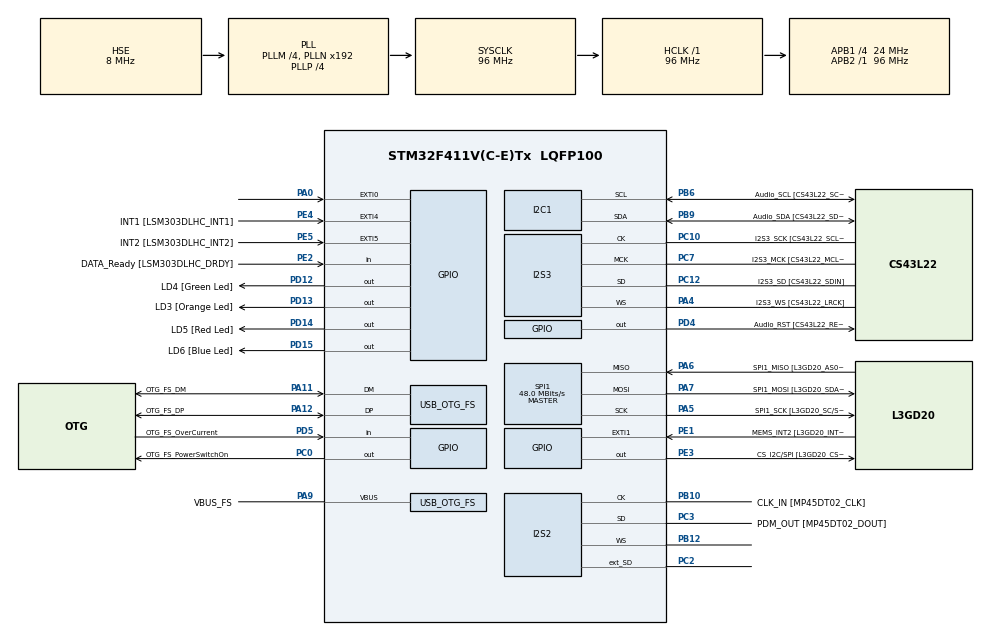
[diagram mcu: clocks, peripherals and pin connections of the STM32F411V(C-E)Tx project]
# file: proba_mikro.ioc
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I2S2.AudioFreq=I2S_AUDIOFREQ_96K
I2S2.ErrorAudioFreq=0.15 %
I2S2.FullDuplexMode=I2S_FULLDUPLEXMODE_ENABLE
I2S2.Instance=SPI$Index
I2S2.RealAudioFreq=96.153 KHz
I2S2.VirtualMode=I2S_MODE_MASTER
I2S3.AudioFreq=I2S_AUDIOFREQ_96K
I2S3.ErrorAudioFreq=-6.99 %
I2S3.FullDuplexMode=I2S_FULLDUPLEXMODE_DISABLE
I2S3.Instance=SPI$Index
I2S3.RealAudioFreq=89.285 KHz
I2S3.VirtualMode=I2S_MODE_MASTER
Mcu.Family=STM32F4
Mcu.Name=STM32F411V(C-E)Tx
Mcu.Package=LQFP100
NVIC.OTG_FS_IRQn=true\:0\:0\:false\:false\:true\:true\:true
NVIC.PriorityGroup=NVIC_PRIORITYGROUP_0
PA0-WKUP.GPIO_ModeDefaultEXTI=GPIO_MODE_EVT_RISING
PA0-WKUP.Signal=GPXTI0
PA10.GPIO_Label=OTG_FS_ID
PA10.Signal=USB_OTG_FS_ID
PA11.GPIO_Label=OTG_FS_DM
PA11.Mode=Host_Only
PA11.Signal=USB_OTG_FS_DM
PA12.GPIO_Label=OTG_FS_DP
PA12.Mode=Host_Only
PA12.Signal=USB_OTG_FS_DP
PA13.GPIO_Label=SWDIO
PA13.Mode=Serial_Wire
PA13.Signal=SYS_JTMS-SWDIO
PA14.GPIO_Label=SWCLK
PA14.Mode=Serial_Wire
PA14.Signal=SYS_JTCK-SWCLK
PA4.GPIO_Label=I2S3_WS [CS43L22_LRCK]
PA4.GPIO_Mode=GPIO_MODE_AF_PP
PA4.GPIO_PuPd=GPIO_NOPULL
PA4.GPIO_Speed=GPIO_SPEED_FREQ_LOW
PA4.Mode=Half_Duplex_Master
PA4.Signal=I2S3_WS
PA5.GPIO_Label=SPI1_SCK [L3GD20_SC/SPC]
PA5.Mode=Full_Duplex_Master
PA5.Signal=SPI1_SCK
PA6.GPIO_Label=SPI1_MISO [L3GD20_AS0/SDO]
PA6.Mode=Full_Duplex_Master
PA6.Signal=SPI1_MISO
PA7.GPIO_Label=SPI1_MOSI [L3GD20_SDA/SDI/SDO]
PA7.Mode=Full_Duplex_Master
PA7.Signal=SPI1_MOSI
PA9.GPIO_Label=VBUS_FS
PA9.Mode=Activate_VBUS
PA9.Signal=USB_OTG_FS_VBUS
PB10.GPIO_Label=CLK_IN [MP45DT02_CLK]
PB10.Mode=Full_Duplex_Master
PB10.Signal=I2S2_CK
PB12.Mode=Full_Duplex_Master
PB12.Signal=I2S2_WS
PB3.GPIO_Label=SWO
PB3.Signal=SYS_JTDO-SWO
PB6.GPIO_Label=Audio_SCL [CS43L22_SCL]
PB6.GPIO_Mode=GPIO_MODE_AF_OD
PB6.GPIO_PuPd=GPIO_NOPULL
PB6.GPIO_Speed=GPIO_SPEED_FREQ_LOW
PB6.Mode=I2C
PB6.Signal=I2C1_SCL
PB9.GPIO_Label=Audio_SDA [CS43L22_SDA]
PB9.GPIO_Mode=GPIO_MODE_AF_OD
PB9.GPIO_PuPd=GPIO_NOPULL
PB9.GPIO_Speed=GPIO_SPEED_FREQ_LOW
PB9.Mode=I2C
PB9.Signal=I2C1_SDA
PC0.GPIO_Label=OTG_FS_PowerSwitchOn
PC0.PinState=GPIO_PIN_SET
PC0.Signal=GPIO_Output
PC10.GPIO_Label=I2S3_SCK [CS43L22_SCLK]
PC10.GPIO_Mode=GPIO_MODE_AF_PP
PC10.GPIO_PuPd=GPIO_NOPULL
PC10.GPIO_Speed=GPIO_SPEED_FREQ_LOW
PC10.Mode=Half_Duplex_Master
PC10.Signal=I2S3_CK
PC12.GPIO_Label=I2S3_SD [CS43L22_SDIN]
PC12.GPIO_Mode=GPIO_MODE_AF_PP
PC12.GPIO_PuPd=GPIO_NOPULL
PC12.GPIO_Speed=GPIO_SPEED_FREQ_LOW
PC12.Mode=Half_Duplex_Master
PC12.Signal=I2S3_SD
PC14-OSC32_IN.GPIO_Label=PC14-OSC32_IN
PC14-OSC32_IN.Mode=LSE-External-Oscillator
PC14-OSC32_IN.Signal=RCC_OSC32_IN
PC15-OSC32_OUT.GPIO_Label=PC15-OSC32_OUT
PC15-OSC32_OUT.Mode=LSE-External-Oscillator
PC15-OSC32_OUT.Signal=RCC_OSC32_OUT
PC2.Mode=Full_Duplex_Master
PC2.Signal=I2S2_ext_SD
PC3.GPIO_Label=PDM_OUT [MP45DT02_DOUT]
PC3.Mode=Full_Duplex_Master
PC3.Signal=I2S2_SD
PC7.GPIO_Label=I2S3_MCK [CS43L22_MCLK]
PC7.GPIO_Mode=GPIO_MODE_AF_PP
PC7.GPIO_PuPd=GPIO_NOPULL
PC7.GPIO_Speed=GPIO_SPEED_FREQ_LOW
PC7.Mode=Master_Clock_Activated
PC7.Signal=I2S3_MCK
PD12.GPIO_Label=LD4 [Green Led]
PD12.GPIO_PuPd=GPIO_NOPULL
PD12.GPIO_Speed=GPIO_SPEED_FREQ_LOW
PD12.Signal=GPIO_Output
PD13.GPIO_Label=LD3 [Orange Led]
PD13.GPIO_PuPd=GPIO_NOPULL
PD13.GPIO_Speed=GPIO_SPEED_FREQ_LOW
PD13.Signal=GPIO_Output
PD14.GPIO_Label=LD5 [Red Led]
PD14.GPIO_PuPd=GPIO_NOPULL
PD14.GPIO_Speed=GPIO_SPEED_FREQ_LOW
PD14.Signal=GPIO_Output
PD15.GPIO_Label=LD6 [Blue Led]
PD15.GPIO_PuPd=GPIO_NOPULL
PD15.GPIO_Speed=GPIO_SPEED_FREQ_LOW
PD15.Signal=GPIO_Output
PD4.GPIO_Label=Audio_RST [CS43L22_RESET]
PD4.Signal=GPIO_Output
PD5.GPIO_Label=OTG_FS_OverCurrent
PD5.Signal=GPIO_Input
PE1.GPIO_Label=MEMS_INT2 [L3GD20_INT2]
PE1.GPIO_ModeDefaultEXTI=GPIO_MODE_EVT_RISING
PE1.Signal=GPXTI1
PE2.GPIO_Label=DATA_Ready [LSM303DLHC_DRDY]
PE2.Signal=GPIO_Input
PE3.GPIO_Label=CS_I2C/SPI [L3GD20_CS_I2C/SPI]
PE3.Signal=GPIO_Output
PE4.GPIO_Label=INT1 [LSM303DLHC_INT1]
PE4.GPIO_ModeDefaultEXTI=GPIO_MODE_EVT_RISING
PE4.Signal=GPXTI4
PE5.GPIO_Label=INT2 [LSM303DLHC_INT2]
PE5.GPIO_ModeDefaultEXTI=GPIO_MODE_EVT_RISING
PE5.Signal=GPXTI5
PH0\ -\ OSC_IN.GPIO_Label=PH0-OSC_IN
PH0\ -\ OSC_IN.Mode=HSE-External-Clock-Source
PH0\ -\ OSC_IN.Signal=RCC_OSC_IN
PH1\ -\ OSC_OUT.GPIO_Label=PH1-OSC_OUT
PH1\ -\ OSC_OUT.Mode=HSE-External-Clock-Source
PH1\ -\ OSC_OUT.Signal=RCC_OSC_OUT
ProjectManager.HeapSize=0x200
ProjectManager.StackSize=0x400
ProjectManager.TargetToolchain=STM32CubeIDE
RCC.48MHZClocksFreq_Value=48000000
RCC.AHBFreq_Value=96000000
RCC.APB1CLKDivider=RCC_HCLK_DIV4
RCC.APB1Freq_Value=24000000
RCC.APB1TimFreq_Value=48000000
RCC.APB2Freq_Value=96000000
RCC.APB2TimFreq_Value=96000000
RCC.CortexFreq_Value=96000000
RCC.HCLKFreq_Value=96000000
RCC.HSE_VALUE=8000000
RCC.HSI_VALUE=16000000
RCC.PLLI2SM=5
RCC.PLLI2SN=200
RCC.PLLM=4
RCC.PLLP=RCC_PLLP_DIV4
RCC.PLLQ=8
RCC.SYSCLKFreq_VALUE=96000000
RCC.SYSCLKSource=RCC_SYSCLKSOURCE_PLLCLK
RCC.VCOOutputFreq_Value=384000000
SPI1.BaudRatePrescaler=SPI_BAUDRATEPRESCALER_2
SPI1.CalculateBaudRate=48.0 MBits/s
SPI1.Direction=SPI_DIRECTION_2LINES
SPI1.Mode=SPI_MODE_MASTER
SPI1.VirtualType=VM_MASTER
USB_HOST.BSP.number=1
USB_HOST.USBH_HandleTypeDef=hUsbHostFS
USB_HOST.VirtualModeFS=Cdc
USB_HOST0.BSP.STBoard=false
USB_HOST0.BSP.api=Unknown
USB_HOST0.BSP.i2caddr=0
USB_HOST0.BSP.i2creg=0
USB_HOST0.BSP.instance=PC0
USB_HOST0.BSP.ip=GPIO
USB_HOST0.BSP.mode=Output
USB_HOST0.BSP.name=Drive_VBUS_FS
USB_HOST0.BSP.solution=PC0
USB_OTG_FS.VirtualMode=Host_Only
USB_OTG_FS.phy_itface=HCD_PHY_EMBEDDED
VP_USB_HOST_VS_USB_HOST_CDC_FS.Mode=CDC_FS
board=STM32F411E-DISCO

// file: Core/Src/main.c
/* USER CODE BEGIN Header */
/**
  ******************************************************************************
  * @file           : main.c
  * @brief          : Main program body
  ******************************************************************************
  * @attention
  *
  * <h2><center>&copy; Copyright (c) 2021 STMicroelectronics.
  * All rights reserved.</center></h2>
  *
  * This software component is licensed by ST under Ultimate Liberty license
  * SLA0044, the "License"; You may not use this file except in compliance with
  * the License. You may obtain a copy of the License at:
  *                             www.st.com/SLA0044
  *
  ******************************************************************************
  */
/* USER CODE END Header */
#include "main.h"
#include "i2c.h"
#include "i2s.h"
#include "spi.h"
#include "usb_host.h"
#include "gpio.h"

/* USER CODE BEGIN PV */
RCC_ClocksTypeDef RCC_Clocks;
__IO uint8_t RepeatState = 0;
__IO uint16_t CCR_Val = 16826;
extern __IO uint8_t LED_Toggle;
/* USER CODE END PV */

void SystemClock_Config(void);
void MX_USB_HOST_Process(void);

/* USER CODE BEGIN PFP */
static void TIM_LED_Config(void);
/* USER CODE END PFP */

int main(void)
{

  /* MCU Configuration--------------------------------------------------------*/

  /* Reset of all peripherals, Initializes the Flash interface and the Systick. */
  HAL_Init();

  /* Configure the system clock */
  SystemClock_Config();

  /* Initialize all configured peripherals */
  MX_GPIO_Init();
  MX_I2C1_Init();
  MX_I2S2_Init();
  MX_I2S3_Init();
  MX_SPI1_Init();
  MX_USB_HOST_Init();
  /* USER CODE BEGIN 2 */
  /* Initialize LEDS */
    STM_EVAL_LEDInit(LED3);
    STM_EVAL_LEDInit(LED4);
    STM_EVAL_LEDInit(LED5);
    STM_EVAL_LEDInit(LED6);

    /* Green Led On: start of application */
    STM_EVAL_LEDOn(LED4);

    /* SysTick end of count event each 10ms */
    RCC_GetClocksFreq(&RCC_Clocks);
    SysTick_Config(RCC_Clocks.HCLK_Frequency / 100);

    /* Configure TIM4 Peripheral to manage LEDs lighting */
    TIM_LED_Config();

    /* Initialize the repeat status */
    RepeatState = 0;
    LED_Toggle = 7;

    WavePlayBack(I2S_AudioFreq_48k);
  /* USER CODE END 2 */

  /* Infinite loop */
  while (1)
  {
    MX_USB_HOST_Process();

  }
}

void SystemClock_Config(void)
{
  RCC_OscInitTypeDef RCC_OscInitStruct = {0};
  RCC_ClkInitTypeDef RCC_ClkInitStruct = {0};
  RCC_PeriphCLKInitTypeDef PeriphClkInitStruct = {0};

  /** Configure the main internal regulator output voltage
  */
  __HAL_RCC_PWR_CLK_ENABLE();
  __HAL_PWR_VOLTAGESCALING_CONFIG(PWR_REGULATOR_VOLTAGE_SCALE1);
  /** Initializes the RCC Oscillators according to the specified parameters
  * in the RCC_OscInitTypeDef structure.
  */
  RCC_OscInitStruct.OscillatorType = RCC_OSCILLATORTYPE_HSE;
  RCC_OscInitStruct.HSEState = RCC_HSE_BYPASS;
  RCC_OscInitStruct.PLL.PLLState = RCC_PLL_ON;
  RCC_OscInitStruct.PLL.PLLSource = RCC_PLLSOURCE_HSE;
  RCC_OscInitStruct.PLL.PLLM = 4;
  RCC_OscInitStruct.PLL.PLLN = 192;
  RCC_OscInitStruct.PLL.PLLP = RCC_PLLP_DIV4;
  RCC_OscInitStruct.PLL.PLLQ = 8;
  if (HAL_RCC_OscConfig(&RCC_OscInitStruct) != HAL_OK)
  {
    Error_Handler();
  }
  /** Initializes the CPU, AHB and APB buses clocks
  */
  RCC_ClkInitStruct.ClockType = RCC_CLOCKTYPE_HCLK|RCC_CLOCKTYPE_SYSCLK
                              |RCC_CLOCKTYPE_PCLK1|RCC_CLOCKTYPE_PCLK2;
  RCC_ClkInitStruct.SYSCLKSource = RCC_SYSCLKSOURCE_PLLCLK;
  RCC_ClkInitStruct.AHBCLKDivider = RCC_SYSCLK_DIV1;
  RCC_ClkInitStruct.APB1CLKDivider = RCC_HCLK_DIV4;
  RCC_ClkInitStruct.APB2CLKDivider = RCC_HCLK_DIV1;

  if (HAL_RCC_ClockConfig(&RCC_ClkInitStruct, FLASH_LATENCY_3) != HAL_OK)
  {
    Error_Handler();
  }
  PeriphClkInitStruct.PeriphClockSelection = RCC_PERIPHCLK_I2S;
  PeriphClkInitStruct.PLLI2S.PLLI2SN = 200;
  PeriphClkInitStruct.PLLI2S.PLLI2SM = 5;
  PeriphClkInitStruct.PLLI2S.PLLI2SR = 2;
  if (HAL_RCCEx_PeriphCLKConfig(&PeriphClkInitStruct) != HAL_OK)
  {
    Error_Handler();
  }
}

/* USER CODE BEGIN 4 */
static void TIM_LED_Config(void)
{
  TIM_OCInitTypeDef  TIM_OCInitStructure;
  TIM_TimeBaseInitTypeDef  TIM_TimeBaseStructure;
  NVIC_InitTypeDef NVIC_InitStructure;
  uint16_t prescalervalue = 0;

  /* TIM4 clock enable */
  RCC_APB1PeriphClockCmd(RCC_APB1Periph_TIM4, ENABLE);

  NVIC_PriorityGroupConfig(NVIC_PriorityGroup_2);

  /* Enable the TIM3 gloabal Interrupt */
  NVIC_InitStructure.NVIC_IRQChannel = TIM4_IRQn;
  NVIC_InitStructure.NVIC_IRQChannelPreemptionPriority = 0;
  NVIC_InitStructure.NVIC_IRQChannelSubPriority = 0;
  NVIC_InitStructure.NVIC_IRQChannelCmd = ENABLE;
  NVIC_Init(&NVIC_InitStructure);

  /* Initialize Leds mounted on STM324F4-EVAL board */
  STM_EVAL_LEDInit(LED3);
  STM_EVAL_LEDInit(LED4);
  STM_EVAL_LEDInit(LED6);

  /* Compute the prescaler value */
  prescalervalue = (uint16_t) ((SystemCoreClock ) / 550000) - 1;

  /* Time base configuration */
  TIM_TimeBaseStructure.TIM_Period = 65535;
  TIM_TimeBaseStructure.TIM_Prescaler = prescalervalue;
  TIM_TimeBaseStructure.TIM_ClockDivision = 0;
  TIM_TimeBaseStructure.TIM_CounterMode = TIM_CounterMode_Up;
  TIM_TimeBaseInit(TIM4, &TIM_TimeBaseStructure);

  /* Enable TIM4 Preload register on ARR */
  TIM_ARRPreloadConfig(TIM4, ENABLE);

  /* TIM PWM1 Mode configuration: Channel */
  TIM_OCInitStructure.TIM_OCMode = TIM_OCMode_Timing;
  TIM_OCInitStructure.TIM_OutputState = TIM_OutputState_Enable;
  TIM_OCInitStructure.TIM_Pulse = CCR_Val;
  TIM_OCInitStructure.TIM_OCPolarity = TIM_OCPolarity_High;

  /* Output Compare PWM1 Mode configuration: Channel2 */
  TIM_OC1Init(TIM4, &TIM_OCInitStructure);
  TIM_OC1PreloadConfig(TIM4, TIM_OCPreload_Disable);

  /* TIM Interrupts enable */
  TIM_ITConfig(TIM4, TIM_IT_CC1 , ENABLE);

  /* TIM4 enable counter */
  TIM_Cmd(TIM4, ENABLE);
}
/* USER CODE END 4 */

void Error_Handler(void)
{
}

/************************ (C) COPYRIGHT STMicroelectronics *****END OF FILE****/
